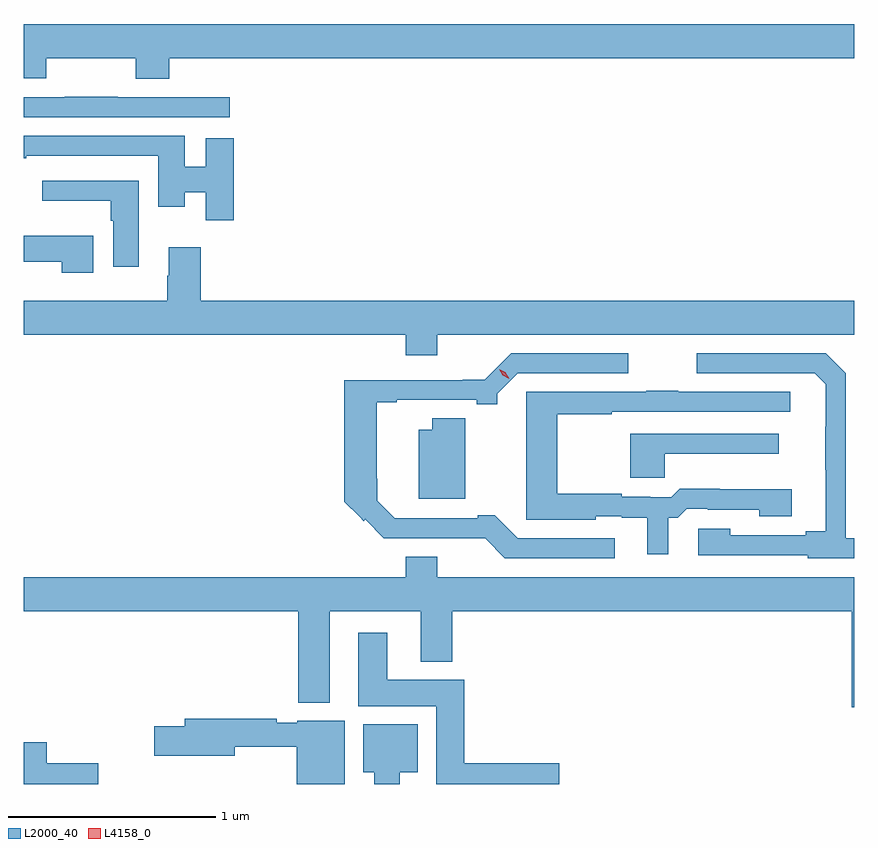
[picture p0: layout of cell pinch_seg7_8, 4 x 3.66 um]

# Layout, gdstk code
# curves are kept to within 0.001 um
import gdstk
lib = gdstk.Library(unit=1e-6, precision=1e-09)
def P(c, l, *ps):  # polygons
    for p in ps: c.add(gdstk.Polygon(p, *l))
L2000_40 = (2000, 40)
L4158_0 = (4158, 0)

pinch_seg7_8 = lib.new_cell('pinch_seg7_8')
P(pinch_seg7_8, L2000_40, [(1032.764,1071.212),(1036.062,1071.212),(1036.062,1071.376),(1032.062,1071.376),(1032.062,1071.114),(1032.171,1071.114),(1032.171,1071.212),(1032.603,1071.212),(1032.603,1071.113),(1032.764,1071.113)],
  [(1033.054,1071.024),(1032.515,1071.024),(1032.515,1071.026),(1032.259,1071.026),(1032.259,1071.024),(1032.062,1071.024),(1032.062,1070.928),(1033.054,1070.928)],
  [(1033.073,1070.827),(1032.938,1070.827),(1032.938,1070.689),(1032.838,1070.689),(1032.838,1070.838),(1032.062,1070.838),(1032.062,1070.73),(1032.076,1070.73),(1032.076,1070.742),(1032.71,1070.742),(1032.71,1070.496),(1032.838,1070.496),(1032.838,1070.567),(1032.938,1070.567),(1032.938,1070.43),(1033.073,1070.43)],
  [(1032.616,1070.622),(1032.153,1070.622),(1032.153,1070.525),(1032.482,1070.525),(1032.482,1070.429),(1032.494,1070.429),(1032.494,1070.208),(1032.616,1070.208)],
  [(1032.397,1070.356),(1032.062,1070.356),(1032.062,1070.231),(1032.245,1070.231),(1032.245,1070.178),(1032.397,1070.178)],
  [(1034.053,1069.88),(1036.062,1069.88),(1036.062,1070.044),(1032.914,1070.044),(1032.914,1070.302),(1032.761,1070.302),(1032.761,1070.165),(1032.754,1070.165),(1032.754,1070.044),(1032.062,1070.044),(1032.062,1069.88),(1033.901,1069.88),(1033.901,1069.781),(1034.053,1069.781)],
  [(1036.062,1068.9),(1036.02,1068.9),(1036.02,1069.695),(1035.924,1069.791),(1035.303,1069.791),(1035.303,1069.695),(1035.87,1069.695),(1035.923,1069.642),(1035.923,1068.935),(1035.827,1068.935),(1035.827,1068.915),(1035.465,1068.915),(1035.465,1068.946),(1035.309,1068.946),(1035.309,1068.819),(1035.837,1068.819),(1035.837,1068.804),(1036.062,1068.804)],
  [(1034.908,1068.9),(1034.442,1068.9),(1034.33,1069.012),(1034.249,1069.012),(1034.249,1068.996),(1033.848,1068.996),(1033.765,1069.08),(1033.765,1069.186),(1033.762,1069.186),(1033.762,1069.554),(1033.858,1069.554),(1033.858,1069.566),(1034.243,1069.566),(1034.243,1069.546),(1034.343,1069.546),(1034.343,1069.596),(1034.442,1069.695),(1034.974,1069.695),(1034.974,1069.791),(1034.409,1069.791),(1034.282,1069.664),(1034.177,1069.664),(1034.177,1069.662),(1033.607,1069.662),(1033.607,1069.077),(1033.7,1068.983),(1033.707,1068.991),(1033.797,1068.9),(1034.285,1068.899),(1034.379,1068.804),(1034.908,1068.804)],
  [(1035.166,1068.998),(1035.212,1068.998),(1035.255,1069.041),(1035.355,1069.041),(1035.355,1069.038),(1035.603,1069.038),(1035.603,1069.007),(1035.76,1069.007),(1035.76,1069.135),(1035.413,1069.135),(1035.413,1069.138),(1035.22,1069.138),(1035.18,1069.098),(1035.08,1069.098),(1035.08,1069.101),(1034.943,1069.101),(1034.943,1069.114),(1034.631,1069.114),(1034.631,1069.497),(1034.894,1069.497),(1034.894,1069.509),(1035.754,1069.509),(1035.754,1069.605),(1035.215,1069.605),(1035.215,1069.61),(1035.061,1069.61),(1035.061,1069.605),(1034.483,1069.605),(1034.483,1068.989),(1034.817,1068.989),(1034.817,1069.005),(1034.943,1069.005),(1034.943,1068.998),(1035.065,1068.998),(1035.065,1068.822),(1035.166,1068.822)],
  [(1034.188,1069.477),(1034.03,1069.477),(1034.03,1069.423),(1033.964,1069.423),(1033.964,1069.091),(1034.188,1069.091)],
  [(1035.149,1069.307),(1035.697,1069.307),(1035.697,1069.404),(1034.983,1069.404),(1034.983,1069.191),(1035.149,1069.191)],
  [(1036.062,1068.712),(1034.053,1068.712),(1034.053,1068.811),(1033.901,1068.811),(1033.901,1068.712),(1032.062,1068.712),(1032.062,1068.548),(1033.385,1068.548),(1033.385,1068.107),(1033.537,1068.107),(1033.537,1068.548),(1033.973,1068.548),(1033.973,1068.305),(1034.126,1068.305),(1034.126,1068.548),(1036.049,1068.548),(1036.049,1068.087),(1036.062,1068.087)],
  [(1034.641,1067.816),(1034.183,1067.816),(1034.183,1068.22),(1033.813,1068.22),(1033.813,1068.445),(1033.673,1068.445),(1033.673,1068.092),(1034.048,1068.092),(1034.048,1067.717),(1034.641,1067.717)],
  [(1033.609,1068.022),(1033.38,1068.022),(1033.38,1068.012),(1033.28,1068.012),(1033.28,1068.032),(1032.839,1068.032),(1032.839,1067.996),(1032.69,1067.996),(1032.69,1067.854),(1033.078,1067.854),(1033.078,1067.896),(1033.376,1067.896),(1033.376,1067.717),(1033.609,1067.717)],
  [(1033.873,1067.774),(1033.96,1067.774),(1033.96,1068.004),(1033.697,1068.004),(1033.697,1067.774),(1033.751,1067.774),(1033.751,1067.717),(1033.873,1067.717)],
  [(1032.421,1067.816),(1032.173,1067.816),(1032.173,1067.919),(1032.062,1067.919),(1032.062,1067.717),(1032.421,1067.717)])
P(pinch_seg7_8, L4158_0, [(1034.4,1069.668),(1034.369,1069.684),(1034.351,1069.714),(1034.351,1069.714),(1034.351,1069.714),(1034.382,1069.699),(1034.4,1069.669),(1034.4,1069.668)])

lib.write_gds('pinch_seg7_8.gds')
